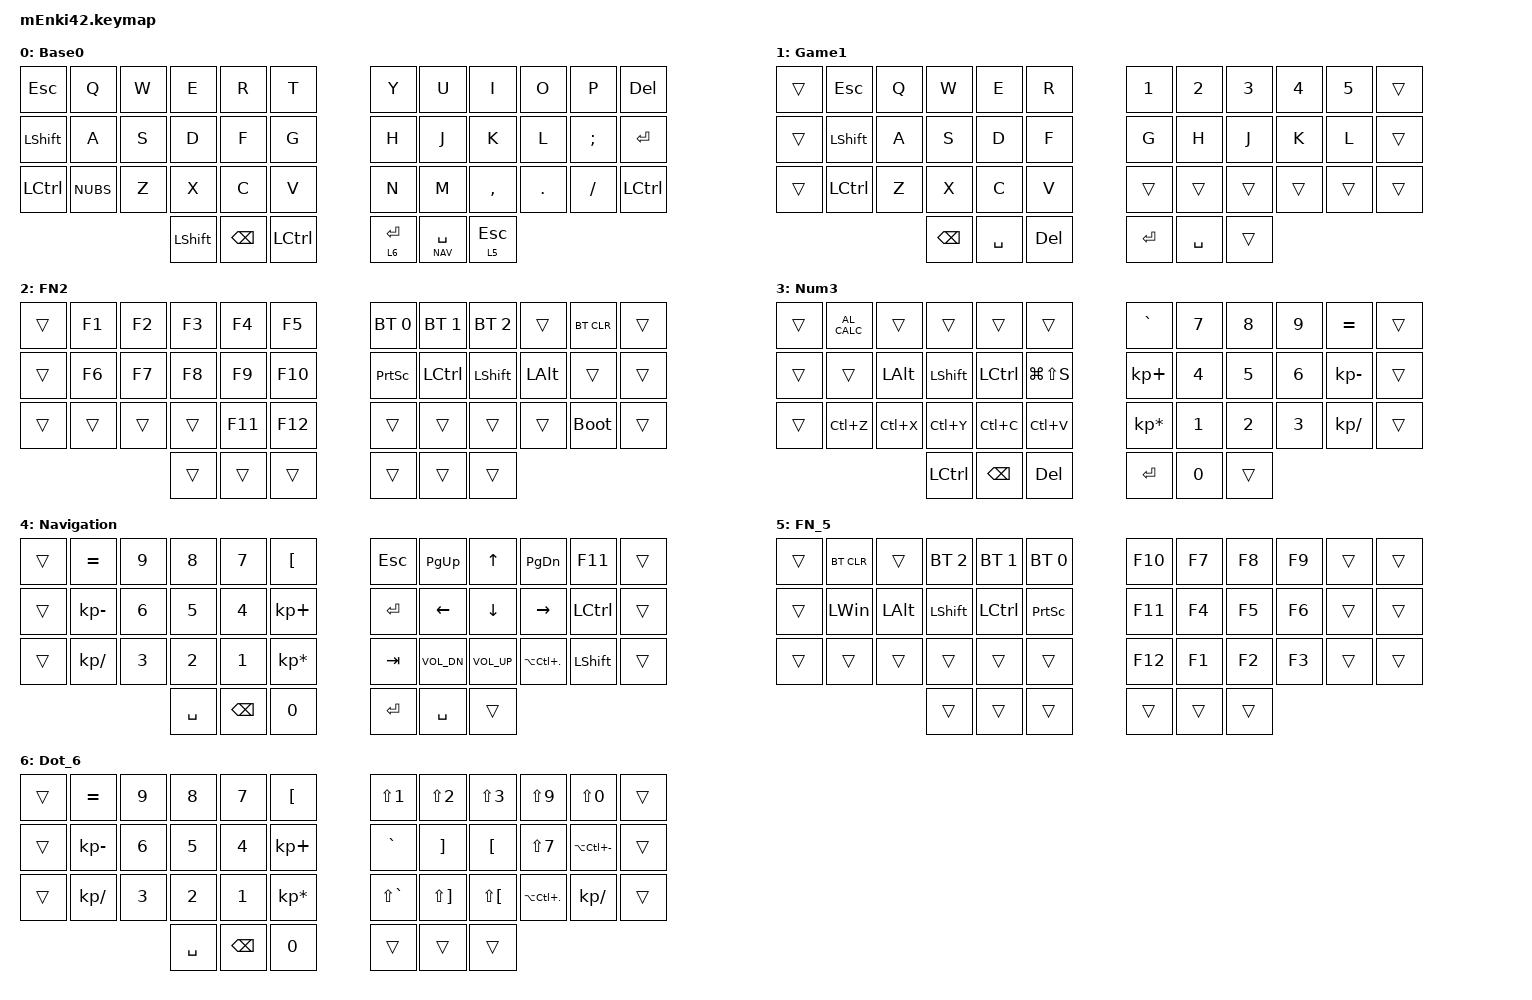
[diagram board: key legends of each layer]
/*
 * Copyright (c) 2020 The ZMK Contributors
 *
 * SPDX-License-Identifier: MIT
 */

#include <behaviors.dtsi>
#include <dt-bindings/zmk/keys.h>
#include <dt-bindings/zmk/bt.h>
#include <dt-bindings/zmk/ext_power.h>

#define BASE  0
#define GAME  1
#define FN    2
#define NUM   3
#define NAV   4
#define PPN   6

&lt {
    quick_tap_ms = <220>;
    require-prior-idle-ms = <150>;
    flavor = "balanced";
    tapping-term-ms = <280>;
};

&mt {
    quick_tap_ms = <220>;
    tapping-term-ms = <280>;
    require-prior-idle-ms = <150>;
    flavor = "balanced";
};

/ {
    combos {
        compatible = "zmk,combos";
        timeout-ms = <20>;
        require-prior-idle-ms = <250>;

        combo_normal {
            key-positions = <7 8 9>;
            bindings = <&to BASE>;
        };

        combo_normalleft {
            key-positions = <2 3 4>;
            bindings = <&to BASE>;
        };

        combo_unlock {
            key-positions = <0 5>;
            bindings = <&studio_unlock>;
        };

        screenshot {
            bindings = <&kp LG(LS(S))>;
            key-positions = <4 5>;
        };

        eng {
            bindings = <&kp F16>;
            key-positions = <16 17>;
        };

        rus {
            bindings = <&kp F17>;
            key-positions = <18 19>;
        };

        ParaLeft {
            bindings = <&kp LS(N9)>;
            key-positions = <28 29>;
        };

        greatt {
            bindings = <&kp LC(LA(P))>;
            key-positions = <30 31>;
        };

        circumflex {
            bindings = <&kp LS(N6)>;
            key-positions = <6 7>;
        };

        bootloaderRight {
            bindings = <&bootloader>;
            key-positions = <11 22 33>;
        };

        bootloaderLeft {
            bindings = <&bootloader>;
            key-positions = <0 13 26>;
        };

        gameleft {
            bindings = <&tog 1>;
            key-positions = <0 29>;
        };

        GoNav {
            bindings = <&tog 4>;
            key-positions = <6 19>;
        };

        GoNumDot {
            bindings = <&tog PPN>;
            key-positions = <2 3 5>;
        };

        fullscree {
            bindings = <&kp F11>;
            key-positions = <7 18>;
        };

        fullscreenLeft {
            bindings = <&kp F11>;
            key-positions = <4 17>;
        };
    };

    keymap {
        compatible = "zmk,keymap";

        Base {
            display-name = "Base0";
            bindings = <
                // ╭─────────────┬─────────────┬─────────────┬─────────────┬─────────────┬─────────────╮Bse╭─────────────┬─────────────┬─────────────┬─────────────┬─────────────┬─────────────╮
                &kp ESC        &kp Q         &kp W         &kp E         &kp R         &kp T             &kp Y         &kp U         &kp I         &kp O         &kp P         &kp DEL
                // ├─────────────┼─────────────┼─────────────┼─────────────┼─────────────┼─────────────┤ 0 ├─────────────┼─────────────┼─────────────┼─────────────┼─────────────┼─────────────┤
                &kp LSHFT      &kp A         &kp S         &kp D         &kp F         &kp G             &kp H         &kp J         &kp K         &kp L         &kp SEMI      &kp RET
                // ├─────────────┼─────────────┼─────────────┼─────────────┼─────────────┼─────────────┤Bse├─────────────┼─────────────┼─────────────┼─────────────┼─────────────┼─────────────┤
                &kp LCTRL      &kp NUBS       &kp Z         &kp X         &kp C         &kp V             &kp N         &kp M         &kp COMMA     &kp DOT       &kp FSLH      &kp LCTRL
                // ╰─────────────┴─────────────┴─────────────┼─────────────┼─────────────┼─────────────┤ 0 ├─────────────┼─────────────┼─────────────┼─────────────┴─────────────┴─────────────╯
                                                             &kp LSHFT      &kp BSPC      &kp LCTRL         &lt 6 RET      &lt NAV SPACE  &lt 5 ESC
                //                                           ╰─────────────┴─────────────┴─────────────╯Bse╰─────────────┴─────────────┴─────────────╯
            >;
        };

        Game {
            display-name = "Game1";
            bindings = <
                // ╭─────────────┬─────────────┬─────────────┬─────────────┬─────────────┬─────────────╮Gam╭─────────────┬─────────────┬─────────────┬─────────────┬─────────────┬─────────────╮
                &trans        &kp ESC        &kp Q         &kp W         &kp E         &kp R             &kp N1        &kp N2        &kp N3        &kp N4        &kp N5        &trans
                // ├─────────────┼─────────────┼─────────────┼─────────────┼─────────────┼─────────────┤ 1 ├─────────────┼─────────────┼─────────────┼─────────────┼─────────────┼─────────────┤
                &trans        &kp LSHFT      &kp A         &kp S         &kp D         &kp F             &kp G         &kp H         &kp J         &kp K         &kp L         &trans
                // ├─────────────┼─────────────┼─────────────┼─────────────┼─────────────┼─────────────┤Gam├─────────────┼─────────────┼─────────────┼─────────────┼─────────────┼─────────────┤
                &trans        &kp LCTRL      &kp Z         &kp X         &kp C         &kp V             &trans        &trans        &trans        &trans        &trans        &trans
                // ╰─────────────┴─────────────┴─────────────┼─────────────┼─────────────┼─────────────┤ 1 ├─────────────┼─────────────┼─────────────┴─────────────┴─────────────╯
                                                             &kp BSPC      &kp SPACE      &kp DEL           &kp RET      &kp SPACE       &trans
                //                                           ╰─────────────┴─────────────┴─────────────╯Gam╰─────────────┴─────────────┴─────────────╯
            >;
        };

        FN {
            display-name = "FN2";
            bindings = <
                // ╭─────────────┬─────────────┬─────────────┬─────────────┬─────────────┬─────────────┬─────────────╮
                &trans        &kp F1        &kp F2        &kp F3        &kp F4        &kp F5          &bt BT_SEL 0  &bt BT_SEL 1  &bt BT_SEL 2  &trans      &bt BT_CLR    &trans
                // ├─────────────┼─────────────┼─────────────┼─────────────┼─────────────┼─────────────┼─────────────┤
                &trans        &kp F6        &kp F7        &kp F8        &kp F9        &kp F10         &kp PSCRN     &kp LCTRL     &kp LSHFT     &kp LALT     &trans       &trans
                // ├─────────────┼─────────────┼─────────────┼─────────────┼─────────────┼─────────────┼─────────────┤
                &trans        &trans        &trans        &trans        &kp F11       &kp F12         &trans        &trans        &trans        &trans      &bootloader   &trans
                // ╰─────────────┴─────────────┴─────────────┴─────────────┴─────────────┴─────────────┴─────────────╯
                                                             &trans        &trans        &trans          &trans        &trans        &trans
            >;
        };

        Num {
            display-name = "Num3";
            bindings = <
                // ╭─────────────┬─────────────┬─────────────┬─────────────┬─────────────┬─────────────╮
                &trans        &kp C_AL_CALC   &trans        &trans        &trans        &trans            &kp GRAVE       &kp N7        &kp N8        &kp N9        &kp EQUAL      &trans
                // ├─────────────┼─────────────┼─────────────┼─────────────┼─────────────┼─────────────┤
                &trans        &trans        &kp LALT       &kp LSHFT      &kp LCTRL     &kp LG(LS(S))     &kp KP_PLUS     &kp N4        &kp N5        &kp N6        &kp KP_MINUS   &trans
                // ├─────────────┼─────────────┼─────────────┼─────────────┼─────────────┼─────────────┤
                &trans        &kp LC(Z)     &kp LC(X)     &kp LC(Y)     &kp LC(C)     &kp LC(V)          &kp KP_MULTIPLY  &kp N1        &kp N2        &kp N3        &kp KP_SLASH   &trans
                // ╰─────────────┴─────────────┴─────────────┼─────────────┼─────────────┼─────────────┤
                                                             &kp LCTRL      &kp BSPC      &kp DEL           &kp RET        &kp N0        &trans
            >;
        };

        Navigation {
            display-name = "Navigation";
            bindings = <
                // ╭─────────────┬─────────────┬─────────────┬─────────────┬─────────────┬─────────────╮
                &trans        &kp EQUAL      &kp N9        &kp N8        &kp N7        &kp LBKT           &kp ESC        &kp PG_UP      &kp UP        &kp PG_DN     &kp F11       &trans
                // ├─────────────┼─────────────┼─────────────┼─────────────┼─────────────┼─────────────┤
                &trans        &kp KP_MINUS   &kp N6        &kp N5        &kp N4        &kp KP_PLUS        &kp RET        &kp LEFT       &kp DOWN      &kp RIGHT     &kp LCTRL     &trans
                // ├─────────────┼─────────────┼─────────────┼─────────────┼─────────────┼─────────────┤
                &trans        &kp KP_SLASH   &kp N3        &kp N2        &kp N1        &kp KP_MULTIPLY    &kp TAB        &kp C_VOL_DN   &kp C_VOL_UP   &kp LA(LC(DOT)) &kp LSHFT     &trans
                // ╰─────────────┴─────────────┴─────────────┼─────────────┼─────────────┼─────────────┤
                                                        &kp SPACE          &kp BSPC      &kp N0             &kp RET        &kp SPACE      &trans
            >;
        };

        FNN {
            display-name = "FN_5";
            bindings = <
                // ╭─────────────┬─────────────┬─────────────┬─────────────┬─────────────┬─────────────╮
                &trans        &bt BT_CLR    &trans        &bt BT_SEL 2   &bt BT_SEL 1  &bt BT_SEL 0      &kp F10       &kp F7        &kp F8        &kp F9        &trans        &trans
                // ├─────────────┼─────────────┼─────────────┼─────────────┼─────────────┼─────────────┤
                &trans        &kp LWIN      &kp LALT       &kp LSHFT      &kp LCTRL     &kp PSCRN          &kp F11       &kp F4        &kp F5        &kp F6        &trans        &trans
                // ├─────────────┼─────────────┼─────────────┼─────────────┼─────────────┼─────────────┤
                &trans        &trans        &trans        &trans         &trans        &trans             &kp F12       &kp F1        &kp F2        &kp F3        &trans        &trans
                // ╰─────────────┴─────────────┴─────────────┴─────────────┴─────────────┴─────────────╯
                                                             &trans        &trans        &trans           &trans        &trans        &trans
            >;
        };

        PPN {
            display-name = "Dot_6";
            bindings = <
                // ╭─────────────┬─────────────┬─────────────┬─────────────┬─────────────┬─────────────╮
                &trans        &kp EQUAL      &kp N9        &kp N8        &kp N7        &kp LBKT           &kp LS(N1)     &kp LS(N2)     &kp LS(N3)     &kp LS(N9)     &kp LS(N0)     &trans
                // ├─────────────┼─────────────┼─────────────┼─────────────┼─────────────┼─────────────┤
                &trans        &kp KP_MINUS   &kp N6        &kp N5        &kp N4        &kp KP_PLUS        &kp GRAVE      &kp RBKT       &kp LBKT       &kp LS(N7)     &kp LA(LC(MINUS)) &trans
                // ├─────────────┼─────────────┼─────────────┼─────────────┼─────────────┼─────────────┤
                &trans        &kp KP_SLASH   &kp N3        &kp N2        &kp N1        &kp KP_MULTIPLY    &kp LS(GRAVE)  &kp LS(RBKT)   &kp LS(LBKT)   &kp LA(LC(DOT)) &kp KP_SLASH  &trans
                // ╰─────────────┴─────────────┴─────────────┼─────────────┼─────────────┤
                                                          &kp SPACE       &kp BSPC      &kp N0              &trans        &trans        &trans
            >;
        };
    };
};
